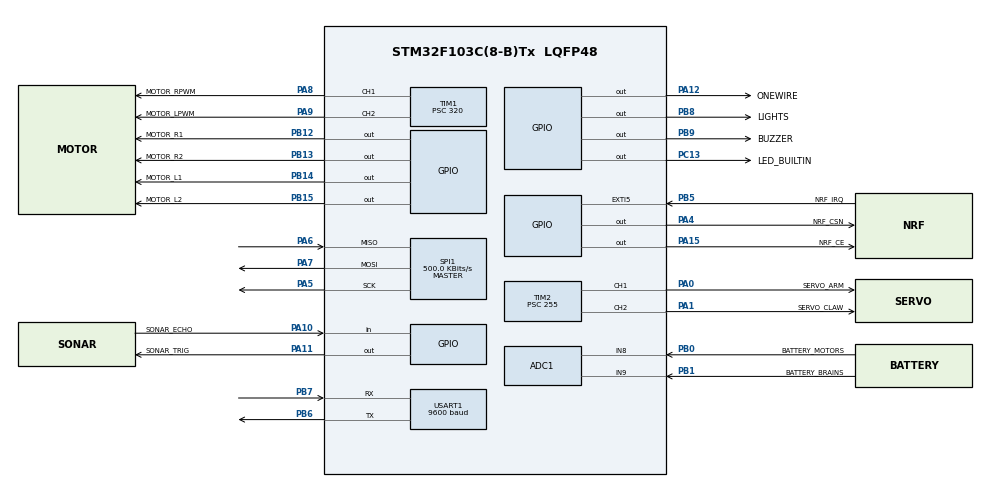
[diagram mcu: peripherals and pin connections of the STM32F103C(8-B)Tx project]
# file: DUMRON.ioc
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ADC1.Channel-0\#ChannelRegularConversion=ADC_CHANNEL_9
ADC1.Channel-1\#ChannelRegularConversion=ADC_CHANNEL_8
ADC1.NbrOfConversion=2
ADC1.NbrOfConversionFlag=1
ADC1.Rank-0\#ChannelRegularConversion=1
ADC1.Rank-1\#ChannelRegularConversion=2
ADC1.SamplingTime-0\#ChannelRegularConversion=ADC_SAMPLETIME_55CYCLES_5
ADC1.SamplingTime-1\#ChannelRegularConversion=ADC_SAMPLETIME_55CYCLES_5
ADC1.master=1
Dma.ADC1.0.Direction=DMA_PERIPH_TO_MEMORY
Dma.ADC1.0.Instance=DMA1_Channel1
Dma.ADC1.0.MemDataAlignment=DMA_MDATAALIGN_HALFWORD
Dma.ADC1.0.MemInc=DMA_MINC_ENABLE
Dma.ADC1.0.Mode=DMA_NORMAL
Dma.ADC1.0.PeriphDataAlignment=DMA_PDATAALIGN_HALFWORD
Dma.ADC1.0.PeriphInc=DMA_PINC_DISABLE
Dma.ADC1.0.Priority=DMA_PRIORITY_LOW
Dma.Request0=ADC1
FREERTOS.BinarySemaphores01=dataRecieveSemaphore,Dynamic,NULL;batteryMsrSemaphore,Dynamic,NULL
FREERTOS.HEAP_NUMBER=4
FREERTOS.INCLUDE_eTaskGetState=0
FREERTOS.INCLUDE_pcTaskGetTaskName=1
FREERTOS.INCLUDE_uxTaskPriorityGet=0
FREERTOS.INCLUDE_vTaskCleanUpResources=0
FREERTOS.INCLUDE_vTaskDelayUntil=0
FREERTOS.INCLUDE_vTaskDelete=0
FREERTOS.INCLUDE_vTaskPrioritySet=0
FREERTOS.INCLUDE_vTaskSuspend=0
FREERTOS.INCLUDE_xQueueGetMutexHolder=0
FREERTOS.INCLUDE_xTaskGetSchedulerState=0
FREERTOS.INCLUDE_xTaskResumeFromISR=0
FREERTOS.INCLUDE_xTimerPendFunctionCall=0
FREERTOS.MEMORY_ALLOCATION=0
FREERTOS.Mutexes01=outcomingDataMutex,Dynamic,NULL;incomingDataMutex,Dynamic,NULL
FREERTOS.Queues01=outcomingElementQueue,6,OutcomingElement_s,0,Dynamic,NULL,NULL
FREERTOS.Tasks01=bld,11,128,Task_BlinkLed,Default,NULL,Dynamic,NULL,NULL;uod,16,128,Task_UpdateOutcomingData,Default,NULL,Dynamic,NULL,NULL;chd,24,128,Task_CheckDistance,Default,NULL,Dynamic,NULL,NULL;cht,13,128,Task_CheckTemp,Default,NULL,Dynamic,NULL,NULL;chb,15,128,Task_CheckBatteries,Default,NULL,Dynamic,NULL,NULL;exd,40,128,Task_ExchangeDataWithRC,Default,NULL,Dynamic,NULL,NULL
FREERTOS.Timers01=manipulatorTimer,Callback_UpdateManipulator,osTimerPeriodic,Default,NULL,Dynamic,NULL
FREERTOS.configCHECK_FOR_STACK_OVERFLOW=2
FREERTOS.configENABLE_BACKWARD_COMPATIBILITY=0
FREERTOS.configMAX_CO_ROUTINE_PRIORITIES=1
FREERTOS.configMAX_PRIORITIES=4
FREERTOS.configMAX_TASK_NAME_LEN=12
FREERTOS.configMINIMAL_STACK_SIZE=64
FREERTOS.configQUEUE_REGISTRY_SIZE=6
FREERTOS.configRECORD_STACK_HIGH_ADDRESS=1
FREERTOS.configTICK_RATE_HZ=100
FREERTOS.configTIMER_QUEUE_LENGTH=5
FREERTOS.configTIMER_TASK_PRIORITY=2
FREERTOS.configTIMER_TASK_STACK_DEPTH=96
FREERTOS.configTOTAL_HEAP_SIZE=6144
FREERTOS.configUSE_COUNTING_SEMAPHORES=1
FREERTOS.configUSE_IDLE_HOOK=1
FREERTOS.configUSE_MALLOC_FAILED_HOOK=1
FREERTOS.configUSE_TASK_NOTIFICATIONS=1
FREERTOS.configUSE_TIMERS=1
Mcu.Family=STM32F1
Mcu.Name=STM32F103C(8-B)Tx
Mcu.Package=LQFP48
NVIC.DMA1_Channel1_IRQn=true\:5\:0\:false\:false\:true\:true\:false\:true
NVIC.EXTI9_5_IRQn=true\:5\:0\:false\:false\:true\:true\:true\:true
NVIC.PriorityGroup=NVIC_PRIORITYGROUP_4
NVIC.TIM4_IRQn=true\:0\:0\:false\:false\:true\:false\:false\:true
NVIC.TimeBase=TIM4_IRQn
NVIC.TimeBaseIP=TIM4
PA0-WKUP.GPIO_Label=SERVO_ARM
PA0-WKUP.GPIO_Speed=GPIO_SPEED_FREQ_MEDIUM
PA0-WKUP.Signal=S_TIM2_CH1_ETR
PA1.GPIO_Label=SERVO_CLAW
PA1.GPIO_Speed=GPIO_SPEED_FREQ_MEDIUM
PA1.Signal=S_TIM2_CH2
PA10.GPIO_Label=SONAR_ECHO
PA10.Signal=GPIO_Input
PA11.GPIO_Label=SONAR_TRIG
PA11.GPIO_Speed=GPIO_SPEED_FREQ_MEDIUM
PA11.Signal=GPIO_Output
PA12.GPIO_Label=ONEWIRE
PA12.GPIO_ModeDefaultOutputPP=GPIO_MODE_OUTPUT_OD
PA12.GPIO_Speed=GPIO_SPEED_FREQ_MEDIUM
PA12.PinState=GPIO_PIN_SET
PA12.Signal=GPIO_Output
PA13.Mode=Serial_Wire
PA13.Signal=SYS_JTMS-SWDIO
PA14.Mode=Serial_Wire
PA14.Signal=SYS_JTCK-SWCLK
PA15.GPIO_Label=NRF_CE
PA15.Signal=GPIO_Output
PA4.GPIO_Label=NRF_CSN
PA4.PinState=GPIO_PIN_SET
PA4.Signal=GPIO_Output
PA5.Mode=Full_Duplex_Master
PA5.Signal=SPI1_SCK
PA6.Mode=Full_Duplex_Master
PA6.Signal=SPI1_MISO
PA7.Mode=Full_Duplex_Master
PA7.Signal=SPI1_MOSI
PA8.GPIO_Label=MOTOR_RPWM
PA8.GPIO_Speed=GPIO_SPEED_FREQ_HIGH
PA8.Signal=S_TIM1_CH1
PA9.GPIO_Label=MOTOR_LPWM
PA9.GPIO_Speed=GPIO_SPEED_FREQ_HIGH
PA9.Signal=S_TIM1_CH2
PB0.GPIO_Label=BATTERY_MOTORS
PB0.Signal=ADCx_IN8
PB1.GPIO_Label=BATTERY_BRAINS
PB1.Signal=ADCx_IN9
PB12.GPIO_Label=MOTOR_R1
PB12.GPIO_Speed=GPIO_SPEED_FREQ_MEDIUM
PB12.Signal=GPIO_Output
PB13.GPIO_Label=MOTOR_R2
PB13.GPIO_Speed=GPIO_SPEED_FREQ_MEDIUM
PB13.Signal=GPIO_Output
PB14.GPIO_Label=MOTOR_L1
PB14.GPIO_Speed=GPIO_SPEED_FREQ_MEDIUM
PB14.Signal=GPIO_Output
PB15.GPIO_Label=MOTOR_L2
PB15.GPIO_Speed=GPIO_SPEED_FREQ_MEDIUM
PB15.Signal=GPIO_Output
PB5.GPIO_Label=NRF_IRQ
PB5.GPIO_ModeDefaultEXTI=GPIO_MODE_IT_FALLING
PB5.Signal=GPXTI5
PB6.Mode=Asynchronous
PB6.Signal=USART1_TX
PB7.Mode=Asynchronous
PB7.Signal=USART1_RX
PB8.GPIO_Label=LIGHTS
PB8.Signal=GPIO_Output
PB9.GPIO_Label=BUZZER
PB9.Signal=GPIO_Output
PC13-TAMPER-RTC.GPIO_Label=LED_BUILTIN
PC13-TAMPER-RTC.Signal=GPIO_Output
PD0-OSC_IN.Mode=HSE-External-Oscillator
PD0-OSC_IN.Signal=RCC_OSC_IN
PD1-OSC_OUT.Mode=HSE-External-Oscillator
PD1-OSC_OUT.Signal=RCC_OSC_OUT
ProjectManager.HeapSize=0x200
ProjectManager.StackSize=0x400
ProjectManager.TargetToolchain=STM32CubeIDE
RCC.ADCPresc=RCC_ADCPCLK2_DIV8
RCC.AHBFreq_Value=32000000
RCC.APB1Freq_Value=32000000
RCC.APB1TimFreq_Value=32000000
RCC.APB2Freq_Value=32000000
RCC.APB2TimFreq_Value=32000000
RCC.HCLKFreq_Value=32000000
RCC.HSICalibrationValue=16
RCC.PLLMUL=RCC_PLL_MUL4
RCC.PLLSourceVirtual=RCC_PLLSOURCE_HSE
RCC.SYSCLKFreq_VALUE=32000000
RCC.SYSCLKSource=RCC_SYSCLKSOURCE_PLLCLK
RCC.USBFreq_Value=32000000
SH.ADCx_IN8.0=ADC1_IN8,IN8
SH.ADCx_IN9.0=ADC1_IN9,IN9
SH.S_TIM1_CH1.0=TIM1_CH1,PWM Generation1 CH1
SH.S_TIM1_CH2.0=TIM1_CH2,PWM Generation2 CH2
SH.S_TIM2_CH1_ETR.0=TIM2_CH1,PWM Generation1 CH1
SH.S_TIM2_CH2.0=TIM2_CH2,PWM Generation2 CH2
SPI1.BaudRatePrescaler=SPI_BAUDRATEPRESCALER_64
SPI1.CalculateBaudRate=500.0 KBits/s
SPI1.Direction=SPI_DIRECTION_2LINES
SPI1.Mode=SPI_MODE_MASTER
SPI1.VirtualType=VM_MASTER
TIM1.Channel-PWM\ Generation1\ CH1=TIM_CHANNEL_1
TIM1.Channel-PWM\ Generation2\ CH2=TIM_CHANNEL_2
TIM1.OC1Preload_PWM=ENABLE
TIM1.OC2Preload_PWM=ENABLE
TIM1.OCFastMode_PWM-PWM\ Generation1\ CH1=TIM_OCFAST_DISABLE
TIM1.OCFastMode_PWM-PWM\ Generation2\ CH2=TIM_OCFAST_DISABLE
TIM1.Period=255
TIM1.Prescaler=320
TIM2.Channel-PWM\ Generation1\ CH1=TIM_CHANNEL_1
TIM2.Channel-PWM\ Generation2\ CH2=TIM_CHANNEL_2
TIM2.OCFastMode_PWM-PWM\ Generation1\ CH1=TIM_OCFAST_DISABLE
TIM2.OCPolarity_1=TIM_OCPOLARITY_HIGH
TIM2.Period=2499
TIM2.Prescaler=255
TIM2.Pulse-PWM\ Generation1\ CH1=272
TIM3.Period=0xFFFF-1
TIM3.Prescaler=31
USART1.BaudRate=9600
USART1.VirtualMode=VM_ASYNC
VP_FREERTOS_VS_CMSIS_V2.Mode=CMSIS_V2
VP_SYS_VS_tim4.Mode=TIM4
VP_TIM1_VS_ClockSourceINT.Mode=Internal
VP_TIM2_VS_ClockSourceINT.Mode=Internal
VP_TIM3_VS_ClockSourceINT.Mode=Internal
board=custom

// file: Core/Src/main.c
/* USER CODE BEGIN Header */
/**
  * Точка входа: инициализация периферии
  * и запуск ядра ОС.
  */
/* USER CODE END Header */

#include "main.h"
#include "cmsis_os.h"
#include "adc.h"
#include "dma.h"
#include "spi.h"
#include "tim.h"
#include "usart.h"
#include "gpio.h"

/* USER CODE BEGIN Includes */
#include "temperature.h"
#include "radio.h"
#include "emmiters.h"
/* USER CODE END Includes */

void SystemClock_Config(void);
void MX_FREERTOS_Init(void);

int main(void)
{

  /* MCU Configuration--------------------------------------------------------*/

  /* Reset of all peripherals, Initializes the Flash interface and the Systick. */
  HAL_Init();

  /* Configure the system clock */
  SystemClock_Config();

  /* Initialize all configured peripherals */
  MX_GPIO_Init();
  MX_DMA_Init();
  MX_ADC1_Init();
  MX_SPI1_Init();
  MX_TIM1_Init();
  MX_TIM2_Init();
  MX_USART1_UART_Init();
  MX_TIM3_Init();
  /* USER CODE BEGIN 2 */

  // Калибровка АЦП, который будет измерять заряд аккумуляторов.
  HAL_ADCEx_Calibration_Start(&hadc1);

  // ШИМ для моторов;
  HAL_TIM_PWM_Start(&htim1, TIM_CHANNEL_1);
  HAL_TIM_PWM_Start(&htim1, TIM_CHANNEL_2);

  // ШИМ для сервомоторов манипулятора;
  LL_TIM_CC_EnableChannel(TIM2, LL_TIM_CHANNEL_CH1 | LL_TIM_CHANNEL_CH2);
  LL_TIM_EnableCounter(TIM2);

  // Таймер для отсчёта микросекунд;
  LL_TIM_EnableCounter(TIM3);

  // Шина для общения с радиомодулем;
  LL_SPI_Enable(SPI1);

  // Настройка датчиков температуры;
  Temperature_Init();

  // Настройка радиомодуля;
  Radio_Init();

  /* USER CODE END 2 */

  /* Init scheduler */
  osKernelInitialize();  /* Call init function for freertos objects (in freertos.c) */
  MX_FREERTOS_Init();
  /* Start scheduler */
  osKernelStart();

  /* We should never get here as control is now taken by the scheduler */
  /* Infinite loop */

    /* USER CODE BEGIN 3 */
  return 0;
  /* USER CODE END 3 */
}

void SystemClock_Config(void)
{
  LL_FLASH_SetLatency(LL_FLASH_LATENCY_1);

  if(LL_FLASH_GetLatency() != LL_FLASH_LATENCY_1)
  {
    Error_Handler();
  }
  LL_RCC_HSE_Enable();

   /* Wait till HSE is ready */
  while(LL_RCC_HSE_IsReady() != 1)
  {

  }
  LL_RCC_PLL_ConfigDomain_SYS(LL_RCC_PLLSOURCE_HSE_DIV_1, LL_RCC_PLL_MUL_4);
  LL_RCC_PLL_Enable();

   /* Wait till PLL is ready */
  while(LL_RCC_PLL_IsReady() != 1)
  {

  }
  LL_RCC_SetAHBPrescaler(LL_RCC_SYSCLK_DIV_1);
  LL_RCC_SetAPB1Prescaler(LL_RCC_APB1_DIV_1);
  LL_RCC_SetAPB2Prescaler(LL_RCC_APB2_DIV_1);
  LL_RCC_SetSysClkSource(LL_RCC_SYS_CLKSOURCE_PLL);

   /* Wait till System clock is ready */
  while(LL_RCC_GetSysClkSource() != LL_RCC_SYS_CLKSOURCE_STATUS_PLL)
  {

  }
  LL_SetSystemCoreClock(32000000);

   /* Update the time base */
  if (HAL_InitTick (TICK_INT_PRIORITY) != HAL_OK)
  {
    Error_Handler();
  };
  LL_RCC_SetADCClockSource(LL_RCC_ADC_CLKSRC_PCLK2_DIV_8);
}

 /**
  * @brief  Period elapsed callback in non blocking mode
  * @note   This function is called  when TIM4 interrupt took place, inside
  * HAL_TIM_IRQHandler(). It makes a direct call to HAL_IncTick() to increment
  * a global variable "uwTick" used as application time base.
  * @param  htim : TIM handle
  * @retval None
  */
void HAL_TIM_PeriodElapsedCallback(TIM_HandleTypeDef *htim)
{
  if (htim->Instance == TIM4) {
    HAL_IncTick();
  }
}

void Error_Handler(void)
{
  /* USER CODE BEGIN Error_Handler_Debug */
  /*
   * В случае ошибки на стадии инициализации просто орём пьезобуззером.
   * Такая ситуация крайне маловероятна, но ... раз в год и палка неудачно
   * инициализируется.
   */
  Led_SetState(0);
  Buzzer_SetState(1);
  for (;;) {}
  /* USER CODE END Error_Handler_Debug */
}

/************************ (C) COPYRIGHT STMicroelectronics *****END OF FILE****/

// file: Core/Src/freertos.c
/* USER CODE BEGIN Header */
/**
  * Основная "бизнес-логика", представленная в виде задач.
  * Задачи выполняются в режиме вытесняющей многозадачности.
  * Используемая ОС - FreeRTOS с обёрткой CMSIS-RTOS.
  * Обёртка так себе, но выбора не было, STM32CubeIDE по другому не умеет.
  */
/* USER CODE END Header */

#include "FreeRTOS.h"
#include "task.h"
#include "main.h"
#include "cmsis_os.h"

/* USER CODE BEGIN Includes */
#include "battery.h"
#include "motors.h"
#include "manipulator.h"
#include "radio.h"
#include "temperature.h"
#include "distance.h"
#include "emmiters.h"
#include "errors.h"
#include "debug.h"

/* USER CODE END Includes */

/* USER CODE BEGIN PTD */

/**
  * Структура, описывающая формат посылок в очереди выходных данных.
  * Подразумевается, что задачи, взаимодействующие с датчиками должны
  * упаковывать добытые данные в эту структуру, и класть в очередь по
  * дескриптору outcomingElementQueueHandle, откуда эти данные считает
  * задача-сторож Task_UpdateOutcomingData.
  */
typedef struct {
    enum {
        BACK_DISTANCE,
        BRAINS_CHARGE,
        MOTORS_CHARGE,
        AMBIENT_TEMPERATURE,
        INTERNAL_TEMPERATURE
    } kind;
    union {
        uint8_t udata;
        int8_t  sdata;
    };
} OutcomingElement_s;

/* USER CODE END PTD */

/* USER CODE BEGIN Variables */

/**
  * Глобальная структура с отсылаемыми управлющей стороне данными.
  * Защищена мьютексом по дескриптору outcomingDataMutexHandle.
  */
static DataFromRobot_s outcomingData = {0};

/**
  * Глобальная переменная, хранящая факт наличия обрыва позади робота.
  * Защищена мьютексом по дескриптору outcomingDataMutexHandle.
  */
static bool cliffBehindRobotDetected = false;

/* USER CODE END Variables */
/* Definitions for bld */
osThreadId_t bldHandle;
const osThreadAttr_t bld_attributes = {
  .name = "bld",
  .priority = (osPriority_t) osPriorityLow3,
  .stack_size = 128 * 4
};
/* Definitions for uod */
osThreadId_t uodHandle;
const osThreadAttr_t uod_attributes = {
  .name = "uod",
  .priority = (osPriority_t) osPriorityBelowNormal,
  .stack_size = 128 * 4
};
/* Definitions for chd */
osThreadId_t chdHandle;
const osThreadAttr_t chd_attributes = {
  .name = "chd",
  .priority = (osPriority_t) osPriorityNormal,
  .stack_size = 128 * 4
};
/* Definitions for cht */
osThreadId_t chtHandle;
const osThreadAttr_t cht_attributes = {
  .name = "cht",
  .priority = (osPriority_t) osPriorityLow5,
  .stack_size = 128 * 4
};
/* Definitions for chb */
osThreadId_t chbHandle;
const osThreadAttr_t chb_attributes = {
  .name = "chb",
  .priority = (osPriority_t) osPriorityLow7,
  .stack_size = 128 * 4
};
/* Definitions for exd */
osThreadId_t exdHandle;
const osThreadAttr_t exd_attributes = {
  .name = "exd",
  .priority = (osPriority_t) osPriorityHigh,
  .stack_size = 128 * 4
};
/* Definitions for outcomingElementQueue */
osMessageQueueId_t outcomingElementQueueHandle;
const osMessageQueueAttr_t outcomingElementQueue_attributes = {
  .name = "outcomingElementQueue"
};
/* Definitions for manipulatorTimer */
osTimerId_t manipulatorTimerHandle;
const osTimerAttr_t manipulatorTimer_attributes = {
  .name = "manipulatorTimer"
};
/* Definitions for outcomingDataMutex */
osMutexId_t outcomingDataMutexHandle;
const osMutexAttr_t outcomingDataMutex_attributes = {
  .name = "outcomingDataMutex"
};
/* Definitions for incomingDataMutex */
osMutexId_t incomingDataMutexHandle;
const osMutexAttr_t incomingDataMutex_attributes = {
  .name = "incomingDataMutex"
};
/* Definitions for dataRecieveSemaphore */
osSemaphoreId_t dataRecieveSemaphoreHandle;
const osSemaphoreAttr_t dataRecieveSemaphore_attributes = {
  .name = "dataRecieveSemaphore"
};
/* Definitions for batteryMsrSemaphore */
osSemaphoreId_t batteryMsrSemaphoreHandle;
const osSemaphoreAttr_t batteryMsrSemaphore_attributes = {
  .name = "batteryMsrSemaphore"
};

void Task_BlinkLed(void *argument);
void Task_UpdateOutcomingData(void *argument);
void Task_CheckDistance(void *argument);
void Task_CheckTemp(void *argument);
void Task_CheckBatteries(void *argument);
void Task_ExchangeDataWithRC(void *argument);
void Callback_UpdateManipulator(void *argument);

void MX_FREERTOS_Init(void); /* (MISRA C 2004 rule 8.1) */

/* Hook prototypes */
void vApplicationIdleHook(void);
void vApplicationStackOverflowHook(TaskHandle_t xTask, signed char *pcTaskName);
void vApplicationMallocFailedHook(void);

/* USER CODE BEGIN 2 */

/** Когда нет готовых к выполнению задач. */
void vApplicationIdleHook(void)
{
    /* Переводимся в спящий режим. */
    HAL_PWR_EnterSLEEPMode(0, PWR_SLEEPENTRY_WFI);
}
/* USER CODE END 2 */

/* USER CODE BEGIN 4 */

void vApplicationStackOverflowHook(TaskHandle_t xTask, signed char *pcTaskName)
{
    debug_logs((char *)pcTaskName);
    debug_logs(" : stack overflow\n");
    ErrorCritical_StackOverflow();
}
/* USER CODE END 4 */

/* USER CODE BEGIN 5 */

void vApplicationMallocFailedHook(void)
{
    debug_logs("malloc failed\n");
    ErrorCritical_MallocFailed();
}
/* USER CODE END 5 */

void MX_FREERTOS_Init(void) {
  /* Create the mutex(es) */
  /* creation of outcomingDataMutex */
  outcomingDataMutexHandle = osMutexNew(&outcomingDataMutex_attributes);

  /* creation of incomingDataMutex */
  incomingDataMutexHandle = osMutexNew(&incomingDataMutex_attributes);

  /* Create the semaphores(s) */
  /* creation of dataRecieveSemaphore */
  dataRecieveSemaphoreHandle = osSemaphoreNew(1, 1, &dataRecieveSemaphore_attributes);

  /* creation of batteryMsrSemaphore */
  batteryMsrSemaphoreHandle = osSemaphoreNew(1, 1, &batteryMsrSemaphore_attributes);

  /* Create the timer(s) */
  /* creation of manipulatorTimer */
  manipulatorTimerHandle = osTimerNew(Callback_UpdateManipulator, osTimerPeriodic, NULL, &manipulatorTimer_attributes);

  /* Create the queue(s) */
  /* creation of outcomingElementQueue */
  outcomingElementQueueHandle = osMessageQueueNew (6, sizeof(OutcomingElement_s), &outcomingElementQueue_attributes);

  /* Create the thread(s) */
  /* creation of bld */
  bldHandle = osThreadNew(Task_BlinkLed, NULL, &bld_attributes);

  /* creation of uod */
  uodHandle = osThreadNew(Task_UpdateOutcomingData, NULL, &uod_attributes);

  /* creation of chd */
  chdHandle = osThreadNew(Task_CheckDistance, NULL, &chd_attributes);

  /* creation of cht */
  chtHandle = osThreadNew(Task_CheckTemp, NULL, &cht_attributes);

  /* creation of chb */
  chbHandle = osThreadNew(Task_CheckBatteries, NULL, &chb_attributes);

  /* creation of exd */
  exdHandle = osThreadNew(Task_ExchangeDataWithRC, NULL, &exd_attributes);

  /* USER CODE BEGIN RTOS_THREADS */

  osTimerStart(manipulatorTimerHandle, pdMS_TO_TICKS(70));
  /* USER CODE END RTOS_THREADS */

}

/* USER CODE BEGIN Header_Task_BlinkLed */
/**
  * Задача, мигающая отладочным светодиодом.
  * Показывает, что робот в состоянии хотя бы помигать светодиодом.
  */
/* USER CODE END Header_Task_BlinkLed */
void Task_BlinkLed(void *argument)
{
  /* USER CODE BEGIN Task_BlinkLed */

    for (;;) {
        for (int_fast8_t i = 0; i < 2; i++) {
            Led_SetState(1);
            osDelay(pdMS_TO_TICKS(140));
            Led_SetState(0);
            osDelay(pdMS_TO_TICKS(70));
        }
        osDelay(pdMS_TO_TICKS(1500));
    }

  /* USER CODE END Task_BlinkLed */
}

/* USER CODE BEGIN Header_Task_UpdateOutcomingData */
/**
  * Задача-сторож для данных, исходящих от робота к пульту.
  * Считывает посылки из очереди по дескриптору outcomingElementQueueHandle
  * и обновляет поля структуры outcomingData, которая потом будет
  * отправлена через радиомодуль на управляющую сторону.
  */
/* USER CODE END Header_Task_UpdateOutcomingData */
void Task_UpdateOutcomingData(void *argument)
{
  /* USER CODE BEGIN Task_UpdateOutcomingData */

    OutcomingElement_s element;

    for (;;) {
        osMessageQueueGet(outcomingElementQueueHandle, &element, 0, osWaitForever);

        if (osMutexAcquire(outcomingDataMutexHandle, 5) == osOK) {
            switch (element.kind)
            {
            case BACK_DISTANCE:
                outcomingData.status.bf.backDistance = element.udata;
                break;
            case BRAINS_CHARGE:
                outcomingData.brainsCharge = element.udata;
                break;
            case MOTORS_CHARGE:
                outcomingData.motorsCharge = element.udata;
                break;
            case AMBIENT_TEMPERATURE:
                outcomingData.ambientTemperature = element.sdata;
                break;
            case INTERNAL_TEMPERATURE:
                outcomingData.internalTemperature = element.sdata;
                break;
            }
            osMutexRelease(outcomingDataMutexHandle);
        } else {
            debug_logs("uod: odm failed\n");
        }

    }

  /* USER CODE END Task_UpdateOutcomingData */
}

/* USER CODE BEGIN Header_Task_CheckDistance */
/**
  * Задача, проверяющая расстояние от бампера робота до поверхности.
  * Если сзади робота обрыв и в данный момент робот двигается назад,
  * то движение блокируется.
  */
/* USER CODE END Header_Task_CheckDistance */
void Task_CheckDistance(void *argument)
{
  /* USER CODE BEGIN Task_CheckDistance */

    OutcomingElement_s element;
    Distance_e distanceStatus;

    for (;;) {
        distanceStatus = Distance_GetBack();
        element.kind = BACK_DISTANCE;
        element.udata = distanceStatus;

        if (osMutexAcquire(incomingDataMutexHandle, 1) == osOK) {
            if (distanceStatus == DIST_CLIFF) {
                cliffBehindRobotDetected = true;
                if (Motors_GetDirection() == MOVEDIR_BACKWARD)
                    Motors_SetSpeed(0, 0);
            } else {
                cliffBehindRobotDetected = false;
            }
            osMutexRelease(incomingDataMutexHandle);
        } else {
            debug_logs("chd: idm failed\n");
        }

        if (osMessageQueuePut(outcomingElementQueueHandle, &element, 0, 2) != osOK) {
            debug_logs("chd: oeq failed\n");
        }

        osDelay(pdMS_TO_TICKS(200));
    }

  /* USER CODE END Task_CheckDistance */
}

/* USER CODE BEGIN Header_Task_CheckTemp */
/**
  * Задача, считывающая значение температуры
  * внутренних радиаторов и окружающей среды.
  */
/* USER CODE END Header_Task_CheckTemp */
void Task_CheckTemp(void *argument)
{
  /* USER CODE BEGIN Task_CheckTemp */

    OutcomingElement_s element;

    for (;;) {
        Temperature_StartMeasurement();
        osDelay(pdMS_TO_TICKS(TEMPERATURE_MEASUREMENT_TIME_MS));

        element.kind = INTERNAL_TEMPERATURE;
        element.sdata = Temperature_GetInternal();

        if (osMessageQueuePut(outcomingElementQueueHandle, &element, 0, 3) != osOK) {
            debug_logs("cht: oeq1 failed\n");
        }

        element.kind = AMBIENT_TEMPERATURE;
        element.sdata = Temperature_GetAmbient();

        if (osMessageQueuePut(outcomingElementQueueHandle, &element, 0, 3) != osOK) {
            debug_logs("cht: oeq2 failed\n");
        }
        osDelay(pdMS_TO_TICKS(1000));
    }

  /* USER CODE END Task_CheckTemp */
}

/* USER CODE BEGIN Header_Task_CheckBatteries */
/**
  * Задача, считывающая значение заряда аккумуляторов робота
  * с выходных узлов делителей напряжения.
  */
/* USER CODE END Header_Task_CheckBatteries */
void Task_CheckBatteries(void *argument)
{
  /* USER CODE BEGIN Task_CheckBatteries */

    OutcomingElement_s element;

    for (;;) {
        Battery_StartMeasurement();
        osSemaphoreAcquire(batteryMsrSemaphoreHandle, osWaitForever);

        element.kind = BRAINS_CHARGE;
        element.udata = Battery_GetBrainsCharge();

        if (osMessageQueuePut(outcomingElementQueueHandle, &element, 0, 3) != osOK) {
            debug_logs("chb: oeq1 failed\n");
        }

        element.kind = MOTORS_CHARGE;
        element.udata = Battery_GetMotorsCharge();

        if (osMessageQueuePut(outcomingElementQueueHandle, &element, 0, 3) != osOK) {
            debug_logs("chb: oeq2 failed\n");
        }
        osDelay(pdMS_TO_TICKS(3000));
    }

  /* USER CODE END Task_CheckBatteries */
}

/* USER CODE BEGIN Header_Task_ExchangeDataWithRC */
/**
  * Задача, осуществляющая обмен информацией между роботом и пультом.
  * Срабатывает, когда обработчик прерывания по спаду напряжения
  * на IRQ пине радиомодуля отдаёт семафор по дескриптору
  * dataRecieveSemaphoreHandle.
  */
/* USER CODE END Header_Task_ExchangeDataWithRC */
void Task_ExchangeDataWithRC(void *argument)
{
  /* USER CODE BEGIN Task_ExchangeDataWithRC */

    DataToRobot_s incomingData = {
        .ctrl.reg = 0,
        .speedL = 0,
        .speedR = 0,
    };

    for (;;) {
        osSemaphoreAcquire(dataRecieveSemaphoreHandle, osWaitForever);
        Radio_TakeIncoming(&incomingData);

        if (osMutexAcquire(incomingDataMutexHandle, 1) == osOK) {
        	if (incomingData.radio.bf.switched) {
				Radio_SwitchChannel(incomingData.radio.bf.channel);
			}

            Motors_SetDirection(incomingData.ctrl.bf.moveDir);
            if (!cliffBehindRobotDetected ||
                    incomingData.ctrl.bf.moveDir != MOVEDIR_BACKWARD) {
                Motors_SetSpeed(incomingData.speedL, incomingData.speedR);
            }

            Manipulator_SetArm(incomingData.ctrl.bf.armCtrl);
            Manipulator_SetClaw(incomingData.ctrl.bf.clawCtrl);
            if (incomingData.ctrl.bf.armCtrl == ARM_STOP &&
                    incomingData.ctrl.bf.clawCtrl == CLAW_STOP) {
                if (osTimerIsRunning(manipulatorTimerHandle))
                    osTimerStop(manipulatorTimerHandle);
            } else {
                if (!osTimerIsRunning(manipulatorTimerHandle))
                    osTimerStart(manipulatorTimerHandle, pdMS_TO_TICKS(70));
            }

            Lights_SetState(incomingData.ctrl.bf.lightsEn);
            Buzzer_SetState(incomingData.ctrl.bf.buzzerEn);

            osMutexRelease(incomingDataMutexHandle);
        } else {
            debug_logs("exd: idm failed\n");
        }

        if (osMutexAcquire(outcomingDataMutexHandle, 1) == osOK) {
            Radio_PutOutcoming(&outcomingData);
            osMutexRelease(outcomingDataMutexHandle);
        } else {
             debug_logs("exd: odm failed\n");
        }

        /*
         * Включаем прерывание по спаду напряжение на IRQ пине радиомодуля
         * которое мы выключили в обработчике прерывания.
         */
        LL_EXTI_EnableIT_0_31(LL_EXTI_LINE_5);
    }

  /* USER CODE END Task_ExchangeDataWithRC */
}

/* Callback_UpdateManipulator function */
void Callback_UpdateManipulator(void *argument)
{
  /* USER CODE BEGIN Callback_UpdateManipulator */

    /*
     * Чтобы не вызывать сильные просадки напряжения силового аккумулятора,
     * положение манипулятора обновляется плавно, шагами.
     */
    if (osMutexAcquire(incomingDataMutexHandle, 0) != osErrorOS) {
        Manipulator_Move();
        osMutexRelease(incomingDataMutexHandle);
    } else {
    	debug_logs("um: idm failed\n");
    }

  /* USER CODE END Callback_UpdateManipulator */
}

/************************ (C) COPYRIGHT STMicroelectronics *****END OF FILE****/
